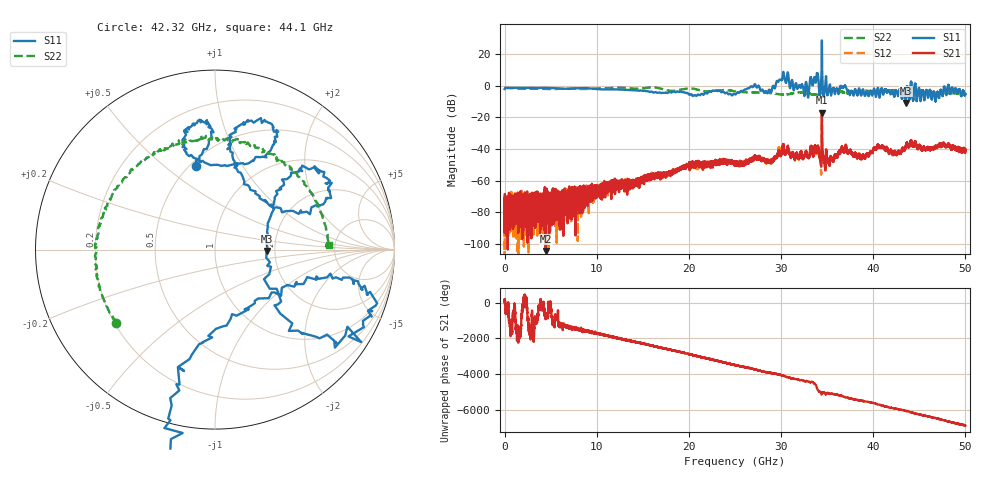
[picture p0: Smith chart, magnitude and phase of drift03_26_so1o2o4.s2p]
!Created with skrf (http://scikit-rf.org).
# Hz S RI R 50.0
!freq ReS11 ImS11 ReS21 ImS21 ReS12 ImS12 ReS22 ImS22
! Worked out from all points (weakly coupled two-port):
!   10000 points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, 5.3 MHz to 50 GHz, reference 50 ohm
!   highest |S21| = -17.10 dB at 34.43 GHz (marker M1); lowest = -104.4 dB at 4.465 GHz (marker M2)
!   lowest |S11| = -10.8 dB at 43.53 GHz (marker M3), VSWR 1.81, Z = 90.3 - j1.52 ohm
!   |S11| at or under -10 dB: 43.49627 GHz to 43.54275 GHz (46.48 MHz wide, 0.107 % of centre); 46.76469 GHz to 46.76542 GHz (734.4 kHz wide, 0.00157 % of centre)
!   |S22| runs from -5.8 to -1.1 dB; largest |S21 - S12| = 0.031
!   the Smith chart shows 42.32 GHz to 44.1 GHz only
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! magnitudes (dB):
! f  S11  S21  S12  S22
! 5.3 MHz  -2.1  -70.9  -82.5  -1.3
! 920.3 MHz  -1.4  -73.6  -71.6  -1.5
! 4.465 GHz  -1.4  -104.4  -72.7  -2.0
! 8.34 GHz  -1.5  -66.4  -66.8  -2.1
! 16.67 GHz  -4.4  -56.5  -56.3  -1.5
! 20.42 GHz  -6.5  -50.5  -50.5  -1.8
! 25.01 GHz  -5.5  -48.5  -49.4  -3.5
! 27.02 GHz  -0.3  -46.3  -46.3  -4.2
! 28.72 GHz  -2.5  -47.9  -48.1  -4.6
! 30.14 GHz  4.4  -40.5  -40.2  -5.7
! 32.74 GHz  2.0  -42.2  -42.2  -4.6
! 33.34 GHz  2.4  -40.1  -40.3  -5.6
! 33.82 GHz  4.0  -42.1  -41.5  -5.7
! 34.43 GHz  28.6  -17.1  -18.7  -4.6
! 35.32 GHz  0.5  -46.2  -46.2  -3.4
! 36.84 GHz  -0.7  -41.6  -41.2  -4.2
! 38.86 GHz  -2.7  -43.9  -44.0  -3.2
! 40.61 GHz  -4.7  -38.1  -38.5  -4.0
! 41.67 GHz  -3.1  -41.9  -42.7  -3.3
! 43.53 GHz  -10.8  -39.1  -38.8  -4.1
! 48.32 GHz  -4.4  -38.3  -38.6  -4.5
! 50 GHz  -5.3  -40.8  -40.9  -4.6
